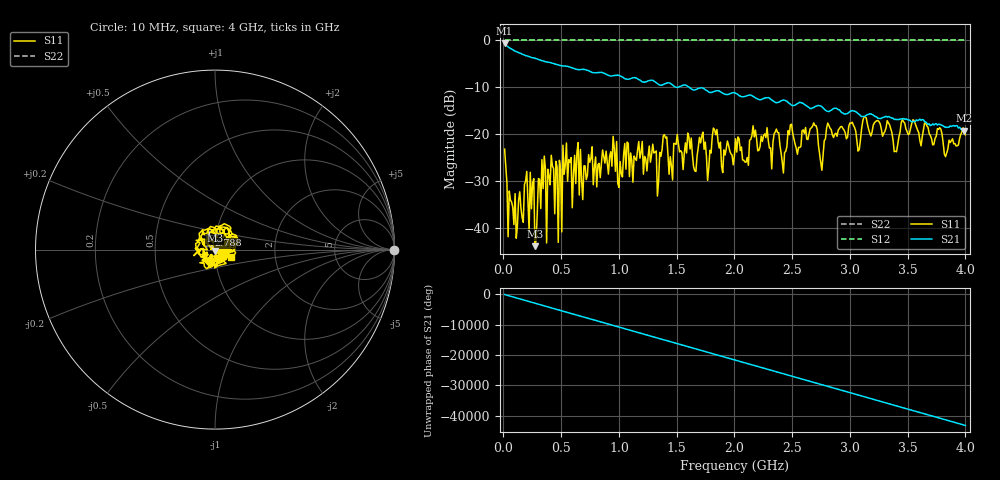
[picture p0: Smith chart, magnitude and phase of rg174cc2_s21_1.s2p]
! Anritsu VNA Master:  Model: MS2024B
! SN:  2417009
! /card0/usr/rg174cc2_s21_1.s2p
! Existing Calibration Information:
! TYPE:  Current Settings,  Active Cal Settings
! TIME:  10/07/2026 02:12:22 AM,  10/07/2026 01:30:09 AM
! INTERNAL TEMP:  51.8 C,  49.0 C
! # POINTS:  396,  396
! START FREQ:  10.000 MHz,  10.000 MHz
! STOP FREQ:  4.000 GHz,  4.000 GHz
! SOURCE POWER:  Default,  Default
! IFBW:  1 kHz,  1 kHz
! AVG FACTOR:  16 ,  16
! REF PLANE 1:  0 mm,  0 mm
! REF PLANE 2:  0 mm,  0 mm
! CAL TYPE:  1P2P S11,S21,  1P2P S11,S21
! CAL METHOD:  SOLT,  SOLT
! CAL LINE TYPE:  Coax,  Coax
! DUT PORT 1:  N-Conn(M),  N-Conn(M)
! DUT PORT 2:  N-Conn(M),  N-Conn(M)
! CAL STATUS:  OK: Accuracy High,  --
# GHZ S DB R 50.0
! FREQ.GHZ  S11DB  S11A  S21DB  S21A  S12DB  S12A  S22DB  S22A
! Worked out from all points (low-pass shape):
!   396 points, 10 MHz to 4 GHz, reference 50 ohm
!   highest |S21| = -0.58 dB at 10 MHz (marker M1); lowest = -19.3 dB at 3.99 GHz (marker M2)
!   |S21| within 3 dB of the highest: start of sweep to 235.7 MHz
!   lowest |S11| = -43.9 dB at 272.6 MHz (marker M3), VSWR 1.01, Z = 49.9 - j0.626 ohm
!   |S11| at or under -10 dB: start of sweep to end of sweep
!   |S22| runs from 0.0 to 0.0 dB; largest |S21 - S12| = 1.8
!   S11 on the Smith chart (normalised r, x): 10 MHz: 0.94, -0.12; 2.788 GHz: 0.92, +0.15; 4 GHz: 1.19, -0.10
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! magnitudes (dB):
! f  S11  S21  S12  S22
! 10 MHz  -23.2  -0.6  0.0  0.0
! 40.3 MHz  -41.9  -1.4  0.0  0.0
! 201.9 MHz  -28.0  -3.3  0.0  0.0
! 222.1 MHz  -40.6  -3.4  0.0  0.0
! 232.2 MHz  -28.2  -3.5  0.0  0.0
! 272.6 MHz  -43.9  -3.8  0.0  0.0
! 353.4 MHz  -24.7  -4.5  0.0  0.0
! 373.6 MHz  -43.3  -4.6  0.0  0.0
! 414.1 MHz  -24.5  -4.8  0.0  0.0
! 464.6 MHz  -27.1  -5.2  0.0  0.0
! 474.7 MHz  -43.1  -5.2  0.0  0.0
! 484.8 MHz  -25.6  -5.3  0.0  0.0
! 505 MHz  -40.9  -5.4  0.0  0.0
! 515.1 MHz  -22.4  -5.5  0.0  0.0
! 676.7 MHz  -29.8  -6.2  0.0  0.0
! 1.343 GHz  -30.0  -9.4  0.0  0.0
! 2.01 GHz  -21.0  -11.3  0.0  0.0
! 2.677 GHz  -18.3  -14.4  0.0  0.0
! 2.788 GHz  -21.0  -14.9  0.0  0.0
! 3.343 GHz  -18.0  -16.3  0.0  0.0
! 3.99 GHz  -19.0  -19.3  0.0  0.0
! 4 GHz  -20.1  -19.2  0.0  0.0
